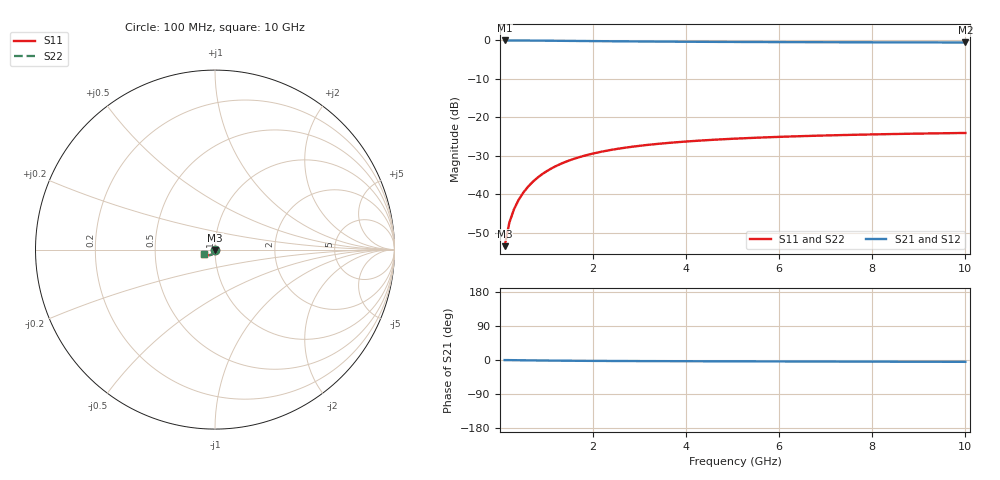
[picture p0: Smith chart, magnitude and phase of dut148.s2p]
! Touchstone file exported from HFSS 2024.1.0
!  File:  C:/UserFiles/LocalFiles/RDL_TSV_Batchsim/temp_TSV1_148_1778765926.aedt
!  Generated:  09:43:45 PM May 14, 2026
!  Design:  TSV1
!  Project:  temp_TSV1_148_1778765926
!  Setup:  Setup1
!  Solution:  Sweep
! Variables:
!  dtsv = 19.11um
!  hbump = 3um
!  htsv = 67.76um
!  lrdl = 252.1521522um
!  p = 40
!  p1 = 59.17um
!  t = 500um
!  trdl = 3um
!  wrdl = 24.89489489um
# GHz S MA R 50.000000
! Terminal data exported
! Port[1] = TSV22_T1
! Port[2] = TSV22_T2
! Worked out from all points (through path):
!   100 points, 100 MHz to 10 GHz, reference 50 ohm
!   highest |S21| = 0.00 dB at 100 MHz (marker M1); lowest = -0.5 dB at 10 GHz (marker M2)
!   lowest |S11| = -53.4 dB at 100 MHz (marker M3), VSWR 1.00, Z = 50 - j0.213 ohm
!   |S11| at or under -10 dB: start of sweep to end of sweep
!   |S22| runs from -53.4 to -24.0 dB; largest |S21 - S12| = 1e-14
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0.1  0.002132 -90.4  0.9999 -0.2  0.9999 -0.2  0.002132 -90.4
! Gamma 0 0 0 0
! Port Impedance 50 0 50 0
0.2  0.004275 -93.2  0.9996 -0.3  0.9996 -0.3  0.004275 -93.2
0.3  0.006398 -95.6  0.9992 -0.5  0.9992 -0.5  0.006398 -95.6
0.4  0.00849 -97.8  0.9986 -0.6  0.9986 -0.6  0.00849 -97.8
0.5  0.01054 -100.0  0.9979 -0.8  0.9979 -0.8  0.01054 -100.0
0.6  0.01255 -102.0  0.9971 -0.9  0.9971 -0.9  0.01255 -102.0
0.7  0.0145 -104.0  0.9962 -1.1  0.9962 -1.1  0.0145 -104.0
0.8  0.0164 -106.0  0.9953 -1.2  0.9953 -1.2  0.0164 -106.0
0.9  0.01823 -107.9  0.9942 -1.3  0.9942 -1.3  0.01823 -107.9
1.1  0.02169 -111.4  0.9919 -1.6  0.9919 -1.6  0.02169 -111.4
1.4  0.02638 -116.3  0.9882 -1.9  0.9882 -1.9  0.02638 -116.3
1.6  0.02916 -119.3  0.9857 -2.0  0.9857 -2.0  0.02916 -119.3
1.8  0.0317 -122.0  0.9832 -2.2  0.9832 -2.2  0.0317 -122.0
2.1  0.03508 -125.7  0.9796 -2.4  0.9796 -2.4  0.03508 -125.7
2.5  0.03891 -129.9  0.9752 -2.6  0.9752 -2.6  0.03891 -129.9
2.9  0.04211 -133.5  0.9712 -2.8  0.9712 -2.8  0.04211 -133.5
3.4  0.04544 -137.3  0.9668 -3.0  0.9668 -3.0  0.04544 -137.3
4.2  0.04964 -142.2  0.9611 -3.3  0.9611 -3.3  0.04964 -142.2
5.1  0.05322 -146.5  0.9559 -3.5  0.9559 -3.5  0.05322 -146.5
6.7  0.05772 -152.1  0.9492 -4.0  0.9492 -4.0  0.05772 -152.1
8.4  0.06087 -156.5  0.9444 -4.4  0.9444 -4.4  0.06087 -156.5
10  0.06291 -159.6  0.9412 -4.8  0.9412 -4.8  0.06291 -159.6
